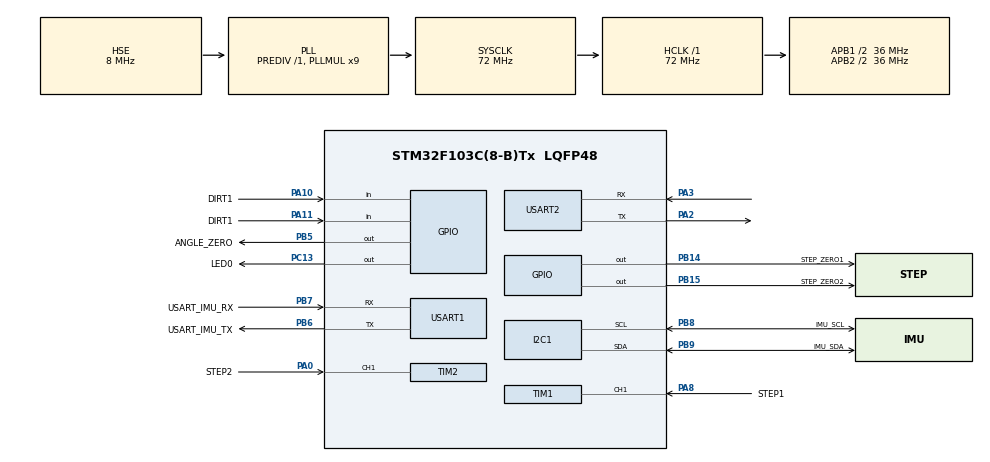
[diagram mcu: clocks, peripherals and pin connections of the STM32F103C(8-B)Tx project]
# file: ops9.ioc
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Dma.Request0=USART1_RX
Dma.USART1_RX.0.Direction=DMA_PERIPH_TO_MEMORY
Dma.USART1_RX.0.Instance=DMA1_Channel5
Dma.USART1_RX.0.MemDataAlignment=DMA_MDATAALIGN_BYTE
Dma.USART1_RX.0.MemInc=DMA_MINC_ENABLE
Dma.USART1_RX.0.Mode=DMA_NORMAL
Dma.USART1_RX.0.PeriphDataAlignment=DMA_PDATAALIGN_BYTE
Dma.USART1_RX.0.PeriphInc=DMA_PINC_DISABLE
Dma.USART1_RX.0.Priority=DMA_PRIORITY_HIGH
Mcu.Family=STM32F1
Mcu.Name=STM32F103C(8-B)Tx
Mcu.Package=LQFP48
NVIC.DMA1_Channel5_IRQn=true\:0\:0\:false\:false\:true\:false\:true\:true
NVIC.I2C1_ER_IRQn=true\:0\:0\:false\:false\:true\:true\:true\:true
NVIC.I2C1_EV_IRQn=true\:0\:0\:false\:false\:true\:true\:true\:true
NVIC.PriorityGroup=NVIC_PRIORITYGROUP_4
NVIC.TIM1_BRK_IRQn=true\:0\:0\:false\:false\:true\:true\:true\:true
NVIC.TIM1_CC_IRQn=true\:0\:0\:false\:false\:true\:true\:true\:true
NVIC.TIM1_TRG_COM_IRQn=true\:0\:0\:false\:false\:true\:true\:true\:true
NVIC.TIM1_UP_IRQn=true\:0\:0\:false\:false\:true\:true\:true\:true
NVIC.TIM3_IRQn=true\:0\:0\:false\:false\:true\:true\:true\:true
NVIC.USART1_IRQn=true\:0\:0\:false\:false\:true\:true\:true\:true
NVIC.USART2_IRQn=true\:0\:0\:false\:false\:true\:true\:true\:true
PA0-WKUP.GPIO_Label=STEP2
PA0-WKUP.Signal=S_TIM2_CH1_ETR
PA10.GPIO_Label=DIRT1
PA10.Signal=GPIO_Input
PA11.GPIO_Label=DIRT1
PA11.Signal=GPIO_Input
PA13.Mode=Serial_Wire
PA13.Signal=SYS_JTMS-SWDIO
PA14.Mode=Serial_Wire
PA14.Signal=SYS_JTCK-SWCLK
PA2.Mode=Asynchronous
PA2.Signal=USART2_TX
PA3.Mode=Asynchronous
PA3.Signal=USART2_RX
PA8.GPIO_Label=STEP1
PA8.Signal=S_TIM1_CH1
PB14.GPIO_Label=STEP_ZERO1
PB14.Signal=GPIO_Output
PB15.GPIO_Label=STEP_ZERO2
PB15.Signal=GPIO_Output
PB5.GPIO_Label=ANGLE_ZERO
PB5.Signal=GPIO_Output
PB6.GPIO_Label=USART_IMU_TX
PB6.Mode=Asynchronous
PB6.Signal=USART1_TX
PB7.GPIO_Label=USART_IMU_RX
PB7.Mode=Asynchronous
PB7.Signal=USART1_RX
PB8.GPIO_Label=IMU_SCL
PB8.Mode=I2C
PB8.Signal=I2C1_SCL
PB9.GPIO_Label=IMU_SDA
PB9.Mode=I2C
PB9.Signal=I2C1_SDA
PC13-TAMPER-RTC.GPIO_Label=LED0
PC13-TAMPER-RTC.Signal=GPIO_Output
PD0-OSC_IN.Mode=HSE-External-Oscillator
PD0-OSC_IN.Signal=RCC_OSC_IN
PD1-OSC_OUT.Mode=HSE-External-Oscillator
PD1-OSC_OUT.Signal=RCC_OSC_OUT
ProjectManager.HeapSize=0x200
ProjectManager.StackSize=0x400
ProjectManager.TargetToolchain=MDK-ARM V5.32
RCC.AHBFreq_Value=72000000
RCC.APB1CLKDivider=RCC_HCLK_DIV2
RCC.APB1Freq_Value=36000000
RCC.APB1TimFreq_Value=72000000
RCC.APB2CLKDivider=RCC_HCLK_DIV2
RCC.APB2Freq_Value=36000000
RCC.APB2TimFreq_Value=72000000
RCC.HCLKFreq_Value=72000000
RCC.PLLMUL=RCC_PLL_MUL9
RCC.PLLSourceVirtual=RCC_PLLSOURCE_HSE
RCC.SYSCLKFreq_VALUE=72000000
RCC.SYSCLKSource=RCC_SYSCLKSOURCE_PLLCLK
RCC.USBFreq_Value=72000000
SH.S_TIM1_CH1.0=TIM1_CH1,TriggerSource_TI1FP1
SH.S_TIM2_CH1_ETR.0=TIM2_CH1,TriggerSource_TI1FP1
TIM1.Slave_TriggerPolarity=TIM_TRIGGERPOLARITY_RISING
TIM2.Slave_TriggerPolarity=TIM_TRIGGERPOLARITY_RISING
TIM3.Period=10-1
TIM3.Prescaler=72-1
USART1.VirtualMode=VM_ASYNC
USART2.VirtualMode=VM_ASYNC
VP_TIM1_VS_ControllerModeClock.Mode=Clock Mode
VP_TIM2_VS_ControllerModeClock.Mode=Clock Mode
VP_TIM3_VS_ClockSourceINT.Mode=Internal
board=custom

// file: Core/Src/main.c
/* USER CODE BEGIN Header */
/**
  ******************************************************************************
  * @file           : main.c
  * @brief          : Main program body
  ******************************************************************************
  * @attention
  *
  * Copyright (c) 2024 STMicroelectronics.
  * All rights reserved.
  *
  * This software is licensed under terms that can be found in the LICENSE file
  * in the root directory of this software component.
  * If no LICENSE file comes with this software, it is provided AS-IS.
  *
  ******************************************************************************
  */
/* USER CODE END Header */
#include "main.h"
#include "dma.h"
#include "i2c.h"
#include "tim.h"
#include "usart.h"
#include "gpio.h"

/* USER CODE BEGIN Includes */
#include "encoder.h"
#include "delay.h"
#include "imu.h"
#include "ops9_control.h"
#include "robot_com.h"
/* USER CODE END Includes */

/* USER CODE BEGIN PD */
#define LED_DELAY		1000		//ms
#define TASK_TIME_OUT	1
/* USER CODE END PD */

/* USER CODE BEGIN PV */
uint16_t led_delay;
uint8_t get_yaw_state;
uint8_t ops9_dirt;
/* USER CODE END PV */

void SystemClock_Config(void);
/* USER CODE BEGIN PFP */
static void LED_task(uint32_t delay);
/* USER CODE END PFP */

int main(void)
{

  /* USER CODE BEGIN 1 */
	uint8_t robot_cmd;
  /* USER CODE END 1 */

  /* MCU Configuration--------------------------------------------------------*/

  /* Reset of all peripherals, Initializes the Flash interface and the Systick. */
  HAL_Init();

  /* Configure the system clock */
  SystemClock_Config();

  /* Initialize all configured peripherals */
  MX_GPIO_Init();
  MX_DMA_Init();
  MX_I2C1_Init();
  MX_TIM1_Init();
  MX_TIM2_Init();
  MX_USART1_UART_Init();
  MX_USART2_UART_Init();
  MX_TIM3_Init();
  /* USER CODE BEGIN 2 */
  delay_init();
  Encoder_init();
  IMU_init();
  Robot_com_init();
  Control_init(TASK_TIME_OUT);
  /* USER CODE END 2 */

  /* Infinite loop */
  /* USER CODE BEGIN WHILE */
  while (1)
  {
	robot_cmd = get_ops_cmd_data();
	if(robot_cmd == ROBOT_CMD_RESTART)
	{
		Robot_com_prepare_reset();
		NVIC_SystemReset();
	}

	ops9_dirt = robot_cmd - 0x30U;
	LED_task(LED_DELAY);
	Encoder_task();
	Robot_com_send_data();
	Control_task(ops9_dirt);
	IMU_check_task();
	delay_ms(TASK_TIME_OUT);
    /* USER CODE END WHILE */

  }
}

void SystemClock_Config(void)
{
  RCC_OscInitTypeDef RCC_OscInitStruct = {0};
  RCC_ClkInitTypeDef RCC_ClkInitStruct = {0};

  /** Initializes the RCC Oscillators according to the specified parameters
  * in the RCC_OscInitTypeDef structure.
  */
  RCC_OscInitStruct.OscillatorType = RCC_OSCILLATORTYPE_HSE;
  RCC_OscInitStruct.HSEState = RCC_HSE_ON;
  RCC_OscInitStruct.HSEPredivValue = RCC_HSE_PREDIV_DIV1;
  RCC_OscInitStruct.HSIState = RCC_HSI_ON;
  RCC_OscInitStruct.PLL.PLLState = RCC_PLL_ON;
  RCC_OscInitStruct.PLL.PLLSource = RCC_PLLSOURCE_HSE;
  RCC_OscInitStruct.PLL.PLLMUL = RCC_PLL_MUL9;
  if (HAL_RCC_OscConfig(&RCC_OscInitStruct) != HAL_OK)
  {
    Error_Handler();
  }

  /** Initializes the CPU, AHB and APB buses clocks
  */
  RCC_ClkInitStruct.ClockType = RCC_CLOCKTYPE_HCLK|RCC_CLOCKTYPE_SYSCLK
                              |RCC_CLOCKTYPE_PCLK1|RCC_CLOCKTYPE_PCLK2;
  RCC_ClkInitStruct.SYSCLKSource = RCC_SYSCLKSOURCE_PLLCLK;
  RCC_ClkInitStruct.AHBCLKDivider = RCC_SYSCLK_DIV1;
  RCC_ClkInitStruct.APB1CLKDivider = RCC_HCLK_DIV2;
  RCC_ClkInitStruct.APB2CLKDivider = RCC_HCLK_DIV2;

  if (HAL_RCC_ClockConfig(&RCC_ClkInitStruct, FLASH_LATENCY_2) != HAL_OK)
  {
    Error_Handler();
  }
}

/* USER CODE BEGIN 4 */
void LED_task(uint32_t delay)
{
	static uint32_t led_delay =0;
	led_delay ++;
	if(led_delay >= delay)
	{
		HAL_GPIO_TogglePin(GPIOC, GPIO_PIN_13);
		led_delay =0;
	}
}

/**
  * @brief  串口接收完成回调
  * @param  huart 发生接收完成事件的HAL串口句柄
  * @retval None
  */
void HAL_UART_RxCpltCallback(UART_HandleTypeDef *huart)
{
	if(huart->Instance == USART2)
	{
		Robot_com_call_back();
	}
}

/**
  * @brief  串口发送完成回调
  * @param  huart 发生发送完成事件的HAL串口句柄
  * @retval None
  */
void HAL_UART_TxCpltCallback(UART_HandleTypeDef *huart)
{
	if(huart->Instance == USART2)
	{
		Robot_com_tx_complete_callback();
	}
}

/**
  * @brief  串口错误回调
  * @param  huart 发生错误的HAL串口句柄
  * @retval None
  */
void HAL_UART_ErrorCallback(UART_HandleTypeDef *huart)
{
	if(huart->Instance == USART2)
	{
		Robot_com_error_callback();
	}
}

/* USER CODE END 4 */

void Error_Handler(void)
{
  __disable_irq();
  while (1)
  {
  }
}
